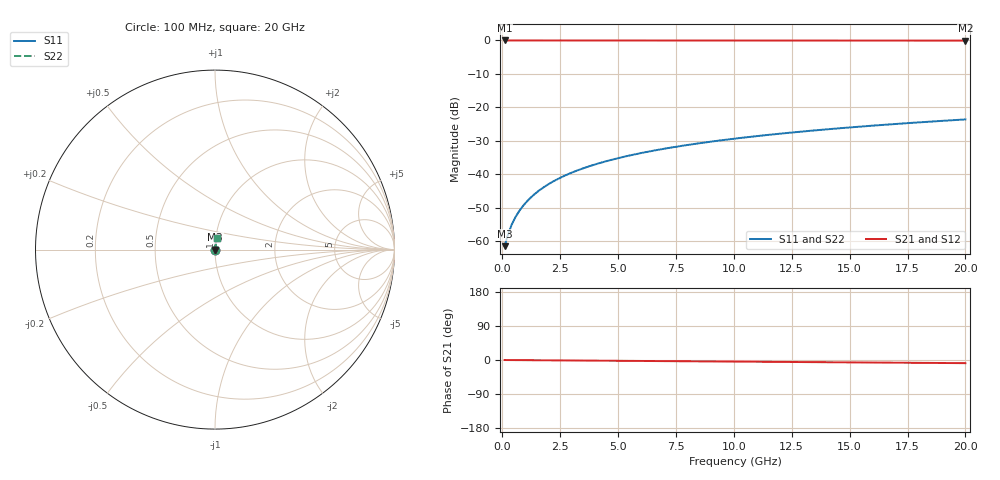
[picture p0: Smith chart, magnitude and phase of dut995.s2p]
! Touchstone file exported from HFSS 2026.1.0
!  File:  C:/ffzhzh/LocalFiles/Ansys_Project_Files/temp_train_BSMRDL_995_1783172999_43440.aedt
!  Generated:  09:51:07 PM Jul  4, 2026
!  Design:  BSMRDL
!  Project:  temp_train_BSMRDL_995_1783172999_43440
! Variables:
!  h_bsmrdl = 3.74um
!  h_ox = 20um
!  h_rdl = 5um
!  h_sub = 80um
!  h_tmrdl = 5um
!  h_tsv = 80um
!  h_via = 3um
!  l_bsmrdl = 110.21um
!  l_sub = 510.21um
!  l_tmrdl = 200um
!  m_sub = 200um
!  pitch = 33.32um
!  r_tsv = 6um
!  s_tmrdl = 10um
!  w_bsmrdl = 19.63um
!  w_sub = 500um
!  w_tmrdl = 12um
!  x_tsv_center1 = 206um
!  x_tsv_center2 = 335.84um
!  x_tsv_center3 = 547.84um
!  x_tsv_center4 = 677.68um
!  x_tsv_center5 = 889.68um
!  x_tsv_center6 = 1019.52um
# GHz S MA R 50.000000
! Terminal data exported
! Port[1] = BSM_RDL1_1_T1
! Port[2] = BSM_RDL1_1_T2
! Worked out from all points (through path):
!   200 points, 100 MHz to 20 GHz, reference 50 ohm
!   highest |S21| = -0.01 dB at 100 MHz (marker M1); lowest = 0.0 dB at 20 GHz (marker M2)
!   group delay of S21, straight-line fit = 1.15 ps
!   lowest |S11| = -61.5 dB at 100 MHz (marker M3), VSWR 1.00, Z = 50.1 + j0.0409 ohm
!   |S11| at or under -10 dB: start of sweep to end of sweep
!   |S22| runs from -61.5 to -23.6 dB; largest |S21 - S12| = 3.2e-15
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0.1  0.0008436 29.0  0.9993 -0.0  0.9993 -0.0  0.0008436 29.0
! Gamma 0 0 0 0
! Port Impedance 50 0 50 0
0.2  0.001113 45.8  0.9992 -0.1  0.9992 -0.1  0.001113 45.8
0.3  0.001424 55.0  0.9992 -0.1  0.9992 -0.1  0.001424 55.0
0.4  0.001742 60.7  0.9992 -0.2  0.9992 -0.2  0.001742 60.7
0.5  0.002064 64.7  0.9991 -0.2  0.9991 -0.2  0.002064 64.7
0.6  0.002389 67.7  0.9991 -0.3  0.9991 -0.3  0.002389 67.7
0.8  0.003047 72.0  0.9991 -0.3  0.9991 -0.3  0.003047 72.0
1  0.003716 74.8  0.999 -0.4  0.999 -0.4  0.003716 74.8
1.2  0.004393 76.8  0.999 -0.5  0.999 -0.5  0.004393 76.8
1.4  0.005076 78.2  0.999 -0.6  0.999 -0.6  0.005076 78.2
1.7  0.006106 79.7  0.999 -0.7  0.999 -0.7  0.006106 79.7
2.2  0.00783 81.3  0.9989 -0.9  0.9989 -0.9  0.00783 81.3
2.8  0.009901 82.2  0.9988 -1.2  0.9988 -1.2  0.009901 82.2
3.5  0.01231 82.8  0.9987 -1.5  0.9987 -1.5  0.01231 82.8
4.2  0.0147 83.0  0.9986 -1.8  0.9986 -1.8  0.0147 83.0
5  0.01742 83.1  0.9984 -2.1  0.9984 -2.1  0.01742 83.1
6.8  0.02346 82.8  0.998 -2.9  0.998 -2.9  0.02346 82.8
8.3  0.02843 82.5  0.9976 -3.5  0.9976 -3.5  0.02843 82.5
10.1  0.03432 82.0  0.9971 -4.3  0.9971 -4.3  0.03432 82.0
13.4  0.045 81.0  0.9963 -5.6  0.9963 -5.6  0.045 81.0
16.7  0.05557 79.9  0.9954 -7.0  0.9954 -7.0  0.05557 79.9
20  0.06606 78.8  0.9945 -8.3  0.9945 -8.3  0.06606 78.8
